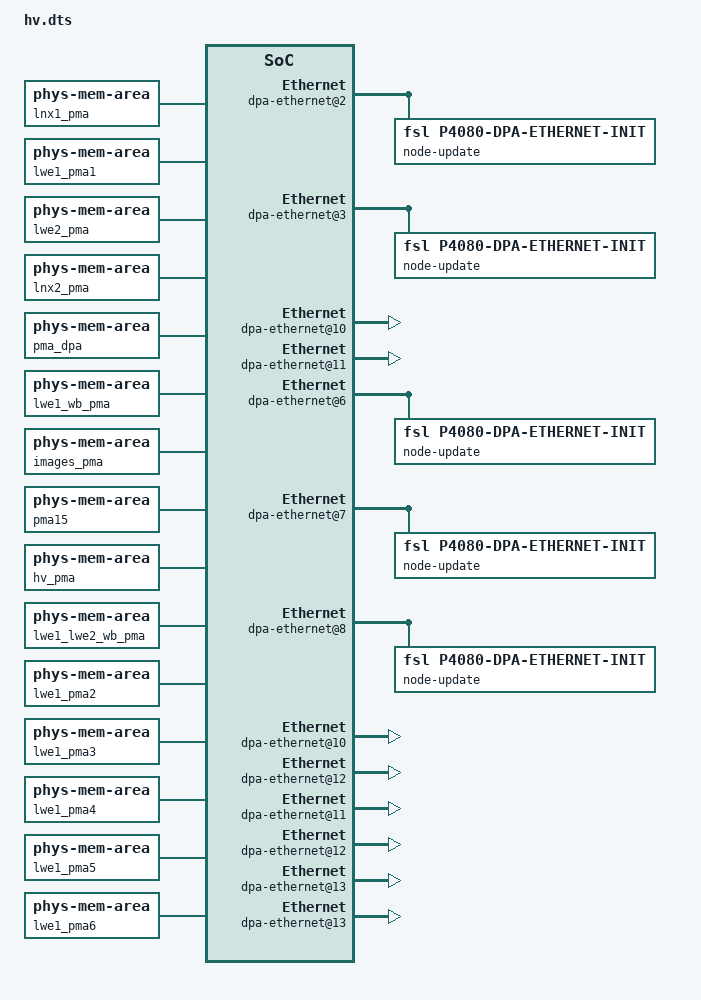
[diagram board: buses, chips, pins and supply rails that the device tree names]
/* Hypervisor Configuration tree containing all hypervisor configuration
 * parameters and partition definition information.
 * (Note -- Please refer to Hypervisor SW Reference Manual
 * (Chapter 5 Configuration) for further details)
 *
 * Copyright (c) 2009-2011 Freescale Semiconductor, Inc.
 */

/dts-v1/;

/ {	// root node

        // The root node of the configuration device tree must contain a
        // compatible property that identifies the device tree as a hypervisor

	compatible = "fsl,hv-config";

	// =====================================================
	// Physical Memory Areas
	// =====================================================
	lnx1_pma: lnx1_pma {
		compatible = "phys-mem-area";
		addr = <0x0 0x00000000>;	// Linux
		size = <0x0 0x20000000>;	// 512MB
	};
	lwe1_pma1: lwe1_pma1 {
		compatible = "phys-mem-area";
		addr = <0x0 0x20000000>;	// LWE1
		size = <0x0 0x20000000>;	// 512MB
	};
	lwe2_pma: lwe2_pma {
		compatible = "phys-mem-area";
		addr = <0x0 0x40000000>;	// LWE2
		size = <0x0 0x20000000>;	// 512MB
	};
	lnx2_pma: lnx2_pma {
		compatible = "phys-mem-area";
		addr = <0x0 0x60000000>;	// Linux
		size = <0x0 0x10000000>;	// 256MB
	};
	pma_dpa: pma_dpa {
		compatible = "phys-mem-area";
		addr = <0x0 0x70000000>;	// For DPA Ethernet frames
		size = <0x0 0x04000000>;	// 64MB
	};
	lwe1_wb_pma: lwe1_wb_pma {
		compatible = "phys-mem-area";
		addr = <0x0 0x74000000>;	// LWE1 Shared whiteboard
		size = <0x0 0x04000000>;	// 64MB
	};
	images_pma: images_pma {
		compatible = "phys-mem-area";
		addr = <0x0 0x78000000>;	// Used for boot-from-RAM
		size = <0x0 0x04000000>;	// 64MB
	};
	pma15: pma15 {
		compatible = "phys-mem-area";
		addr = <0x0 0x7c000000>;	// For MAC-less Ethernet Linux1 and Linux2
		size = <0x0 0x01000000>;	// 16MB
	};
	hv_pma: hv_pma {
		compatible = "phys-mem-area";
		addr = <0x0 0x7f000000>;	// Hypervisor
		size = <0x0 0x01000000>;	// 16MB
	};
	lwe1_lwe2_wb_pma: lwe1_lwe2_wb_pma {
		compatible = "phys-mem-area";
		addr = <0x0 0x80000000>;	// LWE1-LWE2 Shared whiteboard
		size = <0x0 0x04000000>;	// 64MB
	};
	lwe1_pma2: lwe1_pma2 {
		compatible = "phys-mem-area";
		addr = <0x0 0x84000000>;	// LWE1
		size = <0x0 0x04000000>;	// 64MB
	};
	lwe1_pma3: lwe1_pma3 {
		compatible = "phys-mem-area";
		addr = <0x0 0x88000000>;	// LWE1
		size = <0x0 0x08000000>;	// 128MB
	};
	lwe1_pma4: lwe1_pma4 {
		compatible = "phys-mem-area";
		addr = <0x0 0x90000000>;	// LWE1
		size = <0x0 0x10000000>;	// 256MB
	};
	lwe1_pma5: lwe1_pma5 {
		compatible = "phys-mem-area";
		addr = <0x0 0xa0000000>;	// LWE1
		size = <0x0 0x20000000>;	// 512MB
	};
	lwe1_pma6: lwe1_pma6 {
		compatible = "phys-mem-area";
		addr = <0x0 0xc0000000>;	// LWE1
		size = <0x0 0x40000000>;	// 1GB
	};

        // =====================================================
        // DMA Windows
        // =====================================================
	dma-windows {
		dw_linux1: dw_linux1 {
		// DMA window for part1_linux
			compatible = "dma-window";
			guest-addr = <0 0>;
			size = <0x1 0x00000000>; //4GB
			subwindow-count = <8>;
			sub-window@0 {
				compatible = "dma-subwindow";
				guest-addr = <0 0>;
				size = <0 0x20000000>; // 512MB
			};
			sub-window@1 {		// MSI sub-window
				compatible = "dma-subwindow";
				guest-addr = <0 0x20000000>;
				size = <0 0x20000000>; // 512MB
				pcie-msi-subwindow;
			};
			sub-window@2 {
				compatible = "dma-subwindow";
				guest-addr = <0 0x40000000>;
				size = <0 0x1000000>; // 16MB
			};
			sub-window@3 {
				compatible = "dma-subwindow";
				guest-addr = <0x0 0xc0000000>;
				size = <0x0 0x04000000>;
			};
		};
		dw_linux2: dw_linux2 {
		// DMA window for part2_linux
			compatible = "dma-window";
			guest-addr = <0 0>;
			size = <0x1 0x00000000>;
			subwindow-count = <4>;
			sub-window@0 {
				compatible = "dma-subwindow";
				guest-addr = <0 0>;
				size = <0 0x10000000>;
			};
			sub-window@1 {
				compatible = "dma-subwindow";
				guest-addr = <0 0x40000000>;
				size = <0 0x1000000>;
			};
			sub-window@2 {
				compatible = "dma-subwindow";
				guest-addr = <0x0 0xc0000000>;
				size = <0x0 0x04000000>;
			};
		};

		// DMA window for LWE partition has sub-windows
                // This allows the definition of noncontiguous regions
                // of guest physical address space that are the valid
                // targets of DMA operations.
		dw_lwe1: dw_lwe1 {
		// For first LWE partition
			compatible = "dma-window";
			guest-addr = <0 0>;
			size = <0x1 0x00000000>;
			// Vaid values for subwindow-count are 2,4,8,16
                        // 10 sub-windows are defined for LWE
			subwindow-count = <16>;

			sub-window-main@0 {
				compatible = "dma-subwindow";
				guest-addr = <0 0>;
				size = <0x0 0x10000000>; //256MB
			};
			sub-window-main@1 {
				compatible = "dma-subwindow";
				guest-addr = <0 0x10000000>;
				size = <0x0 0x10000000>;
			};
			sub-window-main@2 {
				compatible = "dma-subwindow";
				guest-addr = <0 0x20000000>;
				size = <0x0 0x10000000>;
			};
			sub-window-main@3 {
				compatible = "dma-subwindow";
				guest-addr = <0 0x30000000>;
				size = <0x0 0x10000000>;
			};
			sub-window-main@4 {
				compatible = "dma-subwindow";
				guest-addr = <0 0x40000000>;
				size = <0x0 0x10000000>;
			};
			sub-window-main@5 {
				compatible = "dma-subwindow";
				guest-addr = <0 0x50000000>;
				size = <0x0 0x10000000>;
			};
			sub-window-main@6 {
				compatible = "dma-subwindow";
				guest-addr = <0 0x60000000>;
				size = <0x0 0x10000000>;
			};
			sub-window-main@7 {
				compatible = "dma-subwindow";
				guest-addr = <0 0x70000000>;
				size = <0x0 0x10000000>;
			};
			sub-window-main@8 {
				compatible = "dma-subwindow";
				guest-addr = <0 0x80000000>;
				size = <0x0 0x10000000>;
			};
			sub-window-main@9 {
				compatible = "dma-subwindow";
				guest-addr = <0 0x90000000>;
				size = <0x0 0x08000000>;
			};
			sub-window-main@10 {
				compatible = "dma-subwindow";
				guest-addr = <0 0xa0000000>;
				size = <0x0 0x04000000>;
			};
			sub-window-dpa {
				compatible = "dma-subwindow";
				guest-addr = <0x0 0xc0000000>;
				size = <0x0 0x04000000>;
			};
			sub-window-wb {
				compatible = "dma-subwindow";
				guest-addr = <0x0 0xd0000000>;
				size = <0x0 0x04000000>;
			};
			sub-window-wb2 {
				compatible = "dma-subwindow";
				guest-addr = <0x0 0xe0000000>;
				size = <0x0 0x4000000>;
			};
		};
		dw_lwe2: dw_lwe2 {
		// For second LWE partition
			compatible = "dma-window";
			guest-addr = <0 0>;
			size = <0x1 0x00000000>;
			subwindow-count = <16>;

			sub-window-main@0 {
				compatible = "dma-subwindow";
				guest-addr = <0 0>;
				size = <0x0 0x10000000>;
			};
			sub-window-main@1 {
				compatible = "dma-subwindow";
				guest-addr = <0 0x10000000>;
				size = <0x0 0x10000000>;
			};
			sub-window-dpa {
				compatible = "dma-subwindow";
				guest-addr = <0x0 0xc0000000>;
				size = <0x0 0x04000000>;
			};
			sub-window-wb {
				compatible = "dma-subwindow";
				guest-addr = <0x0 0xd0000000>;
				size = <0x0 0x4000000>;
			};
			sub-window-wb2 {
				compatible = "dma-subwindow";
				guest-addr = <0x0 0xe0000000>;
				size = <0x0 0x4000000>;
			};
		};
		dw_dqrr_qportal0: window3 {
		// DMA window for stash_dqrr for qman-portal0
			compatible = "dma-window";
			guest-addr = <0xf 0xf4200000>;
			size = <0 0x4000>;
		};
		dw_dqrr_qportal1: window4 {
		// DMA window for stash_dqrr for qman-portal1
			compatible = "dma-window";
			guest-addr = <0xf 0xf4204000>;
			size = <0 0x4000>;
		};
		dw_dqrr_qportal2: window5 {
		// DMA window for stash_dqrr for qman-portal2
			compatible = "dma-window";
			guest-addr = <0xf 0xf4208000>;
			size = <0 0x4000>;
		};
		dw_dqrr_qportal3: window6 {
		// DMA window for stash_dqrr for qman-portal3
			compatible = "dma-window";
			guest-addr = <0xf 0xf420c000>;
			size = <0 0x4000>;
		};
		dw_dqrr_qportal4: window7 {
		// DMA window for stash_dqrr for qman-portal4
			compatible = "dma-window";
			guest-addr = <0xf 0xf4210000>;
			size = <0 0x4000>;
		};
		dw_dqrr_qportal5: window8 {
		// DMA window for stash_dqrr for qman-portal5
			compatible = "dma-window";
			guest-addr = <0xf 0xf4214000>;
			size = <0 0x4000>;
		};
		dw_dqrr_qportal6: window9 {
		// DMA window for stash_dqrr for qman-portal6
			compatible = "dma-window";
			guest-addr = <0xf 0xf4218000>;
			size = <0 0x4000>;
		};
		dw_dqrr_qportal7: window10 {
		// DMA window for stash_dqrr for qman-portal7
			compatible = "dma-window";
			guest-addr = <0xf 0xf421c000>;
			size = <0 0x4000>;
		};
	};

	// =====================================================
	// Hypervisor Config
	// Hypervisor is also configured via the Hypervisor
        // configuration tree. A special node and subtree defines
        // set of global configuration parameters and a number of
        // device nodes assigning I/O devices to the hypervisor
	// =====================================================
	hv: hypervisor-config {
		compatible = "hv-config";
		// phandle to byte-channel used for hypervisor's console
		stdout = <&hvbc>;

		hv-memory {
			compatible = "hv-memory";
			phys-mem = <&hv_pma>;
		};

		// Device nodes given below are the physical I/O
                // devices assigned to hypervisor

		guts {
			device = "/soc/global-utilities@e0000";
		};

		iommu {
			device = "/soc/iommu";
		};

		serial0: serial0 {
			device = "serial0";
		};
		serial1: serial1 {
			device = "serial1";
		};
		serial2: serial2 {
			device = "serial2";
		};
		serial3: serial3 {
			device = "serial3";
		};

		mpic {
			device = "/soc/pic@40000";
		};

		cpc {
			device = "/soc/l3-cache-controller";
		};

		corenet-law {
			device = "/soc/corenet-law";
		};

		corenet-cf {
			device = "/soc/corenet-cf";
		};

		rcpm {
			device = "/soc/global-utilities@e2000";
		};

		hvbc: byte-channel {
			compatible = "byte-channel";
			endpoint = <&uartmux>;
			mux-channel = <0>;
		};
	};

        // =====================================================
        // UART mux
        // This node is referenced by byte-channels that use mux
        // as an endpoint
        // =====================================================
	uartmux: uartmux {
		compatible = "byte-channel-mux";
		endpoint = <&serial0>;
	};

        // =====================================================
        // To keep the scenarios hv-1/2/4p as diff-able as possible
        // we always use labels part1 and part2 for linux partitions and
        // part3 and part4 for LWE partitions.
        // In hv-4p scenario, there are 4 partitions - 2 Linux and 2 LWE
        // Partition1 --- part1 --- Linux partition
        // Partition2 --- part2 --- Linux partition
        // Partition3 --- part3 --- LWE partition
        // Partition4 --- part4 --- LWE partition
        // =====================================================


	// =====================================================
	// Partition 1
	// =====================================================
	part1 {
		// Indicates that it is a partition node
		compatible = "partition";
		label = "p1-linux";
		// CPU #0 and #1 is assigned to this partition
		cpus = <0 2>;
		guest-image = <0xf 0xe8020000 0 0 0 0x700000>;
		linux-rootfs = <0xf 0xe9300000 0 0x01300000 0 0x02800000>;
		dtb-window = <0 0x1000000 0 0x12000>;

		// Temporary until Linux uses enable LIODN hcall
		no-dma-disable;

		gpma0 {
			compatible = "guest-phys-mem-area";
			phys-mem = <&lnx1_pma>;
			guest-addr = <0 0>;
		};

		gpma1 {
			compatible = "guest-phys-mem-area";
			phys-mem = <&pma_dpa>;	// DPA Ethernet frames
			guest-addr = <0 0xc0000000>;
		};

		gpma2 {
			compatible = "guest-phys-mem-area";
			phys-mem = <&lwe1_wb_pma>;
			guest-addr = <0 0xd0000000>;
		};

		gpma3 {
			compatible = "guest-phys-mem-area";
			phys-mem = <&pma15>;	// Interpartition between Linux1 - Linux2
			guest-addr = <0 0x40000000>;
		};

		flash {
			device = "/localbus";
		};

		aliases {
			stdout = <&part1_bc0>;
		};

		part1_bc0: byte-channel@1 {
			compatible = "byte-channel";
			endpoint = <&uartmux>;
			mux-channel = <1>;
		};

		// partition node managed by this partition - part3
		partition@3 {
			compatible = "managed-partition";
			partition = <&part3>;
		};

		// partition node managed by this partition - part4
		partition@4 {
			compatible = "managed-partition";
			partition = <&part4>;
		};

		// Devices assigned to the partition - device nodes
		// device node is child of partition node and is used to
		// assign physical I/O devices to partition


		 // FMAN0 eth0 -- ethernet 0 assigned to this partition
		dpa-ethernet@0 {
			device = "/fsl,dpaa/ethernet@0";
		};

		 // FMAN0 eth1 -- ethernet 1 assigned to this partition
		dpa-ethernet@1 {
			device = "/fsl,dpaa/ethernet@1";

			// Replaces the phandle property specified in hardware device tree in the
                        // property fsl,qman-channel with phandle of qportal0 when providing the
                        // node to partition's guest device tree
			node-update-phandle {
				fsl,qman-channel = <&part1_qpool1>;
			};
		};

		// FMAN0 eth2 - 1G port
                // Initialization ownership of this ethernet port is with linux.
                // Used by LWE partition 
		dpa-ethernet@2 {
			device = "/fsl,dpaa/ethernet@2";

			node-update {
				// Update the compatibility property to give initialization ownership to this partition
				compatible = "fsl,p4080-dpa-ethernet-init", "fsl,dpa-ethernet-init";
				// Delete prop fsl,qman-channel from the node
				delete-prop = "fsl,qman-channel";
				// Add property  fsl,qman-frame-queues-rx, fsl,qman-frame-queues-tx to node
				fsl,qman-frame-queues-rx = <0x10 1 0x11 1>;
				fsl,qman-frame-queues-tx = <0x12 1 0x13 1>;
			};

			// Update the phandle in the fsl,bman-buffer-pools property of the node.
			node-update-phandle {
				fsl,bman-buffer-pools = <&part1_bp7 &part1_bp8 &part1_bp9>;
			};
		};

		 // FMAN0 eth3 - 1G port
                // Initialization ownership of this ethernet port is with linux.
                // Used by LWE partition
		dpa-ethernet@3 {
			device = "/fsl,dpaa/ethernet@3";

			node-update {
				compatible = "fsl,p4080-dpa-ethernet-init", "fsl,dpa-ethernet-init";
				delete-prop = "fsl,qman-channel";
				fsl,qman-frame-queues-rx = <0x20 1 0x21 1>;
				fsl,qman-frame-queues-tx = <0x22 1 0x23 1>;
			};
			node-update-phandle {
				fsl,bman-buffer-pools = <&part1_bp7 &part1_bp8 &part1_bp9>;
			};
		};

		bman-portal@0 {
			device = "/bman-portals/bman-portal@0";
			vcpu = <0>;
		};

		bman-portal@4000 {
			device = "/bman-portals/bman-portal@4000";
			vcpu = <1>;
		};

		buffer-pool@0 {
			device = "/bman-portals/buffer-pool@0";
		};

		node-update {
                        // Add buffer pools 1 to 9 to the root node of guest device tree(GDT)
                        // The nodes would be added as specified below to the GDT
			buffer-pool@1 {
				compatible = "fsl,p4080-bpool", "fsl,bpool";
				fsl,bpid = <1>;
			};
			buffer-pool@2 {
				compatible = "fsl,p4080-bpool", "fsl,bpool";
				fsl,bpid = <2>;
			};
			buffer-pool@3 {
				compatible = "fsl,p4080-bpool", "fsl,bpool";
				fsl,bpid = <3>;
			};
			buffer-pool@4 {
				compatible = "fsl,p4080-bpool", "fsl,bpool";
				fsl,bpid = <4>;
			};
			buffer-pool@5 {
				compatible = "fsl,p4080-bpool", "fsl,bpool";
				fsl,bpid = <5>;
			};
			buffer-pool@6 {
				compatible = "fsl,p4080-bpool", "fsl,bpool";
				fsl,bpid = <6>;
			};
			part1_bp7: buffer-pool@7 {
				compatible = "fsl,p4080-bpool", "fsl,bpool";
				fsl,bpid = <7>;
				fsl,bpool-cfg = <0 0x14000 0 192 0 0xC0000000>;
			};
			part1_bp8: buffer-pool@8 {
				compatible = "fsl,p4080-bpool", "fsl,bpool";
				fsl,bpid = <8>;
				fsl,bpool-cfg = <0 0x2000 0 576 0 0xC1E00000>;
			};
			part1_bp9: buffer-pool@9 {
				compatible = "fsl,p4080-bpool", "fsl,bpool";
				fsl,bpid = <9>;
				fsl,bpool-cfg = <0 0x2000 0 1600 0 0xC2700000>;
			};
			part1_bp10: buffer-pool@10 {
				compatible = "fsl,p4080-bpool", "fsl,bpool";
				fsl,bpid = <10>;
				fsl,bpool-cfg = <0 0x80 0 192 0 0x40000000>;
			};
			part1_bp11: buffer-pool@11 {
				compatible = "fsl,p4080-bpool", "fsl,bpool";
				fsl,bpid = <11>;
				fsl,bpool-cfg = <0 0x80 0 576 0 0x40006000>;
			};
			part1_bp12: buffer-pool@12 {
				compatible = "fsl,p4080-bpool", "fsl,bpool";
				fsl,bpid = <12>;
				fsl,bpool-cfg = <0 0x80 0 1600 0 0x40018000>;
			};
			part1_bp13: buffer-pool@13 {
				compatible = "fsl,p4080-bpool", "fsl,bpool";
				fsl,bpid = <13>;
			};
			part1_bp14: buffer-pool@14 {
				compatible = "fsl,p4080-bpool", "fsl,bpool";
				fsl,bpid = <14>;
			};
			part1_bp15: buffer-pool@15 {
				compatible = "fsl,p4080-bpool", "fsl,bpool";
				fsl,bpid = <15>;
			};

			// Add a subnode dpa-ethernet@10 and 11 in fsl,dpaa node in GDT
			fsl,dpaa {
				dpa-ethernet@10 {	// Link with Linux2
					compatible = "fsl,p4080-dpa-ethernet", "fsl,dpa-ethernet";
					fsl,qman-frame-queues-rx = <0x4000 8>;
					fsl,qman-frame-queues-tx = <0x4008 8>;
					local-mac-address = [02 00 c0 a8 6f fe];
				};
				dpa-ethernet@11 {	// Link with LWE
					compatible = "fsl,p4080-dpa-ethernet", "fsl,dpa-ethernet";
					fsl,qman-frame-queues-rx = <0x4010 8>;
					fsl,qman-frame-queues-tx = <0x4018 8>;
					local-mac-address = [02 00 c0 a8 83 fe];
				};
			};
		};

		// Add properties with phandle values to the node dpa-ethernet@10 and 11
		node-update-phandle {
			fsl,dpaa {
				dpa-ethernet@10 {
					fsl,qman-channel = <&part1_qpool2>;
					fsl,bman-buffer-pools = <&part1_bp10 &part1_bp11 &part1_bp12>;
				};
				dpa-ethernet@11 {
					fsl,qman-channel = <&part1_qpool2>;
					fsl,bman-buffer-pools = <&part1_bp7 &part1_bp8 &part1_bp9>;
				};
			};
		};

		portal-devices {
			fman0 {
				device = "fman0";
				dma-window = <&dw_linux1>;
			};
			fman1 {
				device = "fman1";
				dma-window = <&dw_linux1>;
			};
			caam {
				device = "crypto";
				dma-window = <&dw_linux1>;
			};
			pme {
				device = "pme";
				dma-window = <&dw_linux1>;
			};
		};

		qman-portal@0 {
			device = "/qman-portals/qman-portal@0";
			vcpu = <0>;

			stash-mem {
				liodn-index = <1>;
				dma-window = <&dw_linux1>;
				operation-mapping = <0>;	// OMI_QMAN
				stash-dest = <1>;
			};

			stash-dqrr {
				liodn-index = <0>;
				dma-window = <&dw_dqrr_qportal0>;
				operation-mapping = <0>;	// OMI_QMAN
				stash-dest = <1>;
				snoop-cpu-only;
			};

			node-update-phandle {
				fsl,qman-pool-channels = <&part1_qpool1 &part1_qpool2
							  &part1_qpool3 &part1_qpool4>;
			};
		};

		qman-portal@4000 {
			device = "/qman-portals/qman-portal@4000";
			vcpu = <1>;

			stash-mem {
				liodn-index = <1>;
				dma-window = <&dw_linux1>;
				operation-mapping = <0>;	// OMI_QMAN
				stash-dest = <1>;
			};

			stash-dqrr {
				liodn-index = <0>;
				dma-window = <&dw_dqrr_qportal1>;
				operation-mapping = <0>;	// OMI_QMAN
				stash-dest = <1>;
				snoop-cpu-only;
			};

			node-update-phandle {
				fsl,qman-pool-channels = <&part1_qpool1 &part1_qpool2
							  &part1_qpool3 &part1_qpool4>;
			};
		};

		part1_qpool1: qman-pool@1 {
			device = "/qman-portals/qman-pool@1";
		};
		part1_qpool2: qman-pool@2 {
			device = "/qman-portals/qman-pool@2";
		};
		part1_qpool3: qman-pool@3 {
			device = "/qman-portals/qman-pool@3";
		};
		part1_qpool4: qman-pool@4 {
			device = "/qman-portals/qman-pool@4";
		};

		memory-controller@8000 {
			device = "/soc/memory-controller@8000";
		};
		memory-controller@9000 {
			device = "/soc/memory-controller@9000";
		};

		dma0 {
			device = "dma0";
			dma-window = <&dw_linux1>;
		};

		i2c@118000 {
			device = "/soc/i2c@118000";
		};
		i2c@118100 {
			device = "/soc/i2c@118100";
		};

		usb0 {
			device = "usb0";
			dma-window = <&dw_linux1>;
		};

		sdhc {
			device = "sdhc";
			dma-window = <&dw_linux1>;
		};

		crypto {
			device = "crypto";
			dma-window = <&dw_linux1>;
		};

		snvs {
			device = "snvs";
		};

		pme {
			device = "pme";
			dma-window = <&dw_linux1>;
		};

		qman {
			device = "qman";
			dma-window = <&dw_linux1>;
			operation-mapping = <2>;  // OMI_QMAN_PRIV
			stash-dest = <3>;   // L3/CPC
		};

		bman {
			device = "bman";
			dma-window = <&dw_linux1>;
		};

		gpio {
			device = "/soc/gpio";
		};
		 // This partition has 2  FMAN0 port assigned to it.
                // Hence delete the liodn property from the other ports.
		fman0 {
			device = "fman0";
			dma-window = <&dw_linux1>;

			node-update {
				port@8a000 {
					delete-prop = "fsl,liodn";
				};
				port@8b000 {
					delete-prop = "fsl,liodn";
				};
				port@90000 {
					delete-prop = "fsl,liodn";
				};
			};
		};

		msi0 {
			device = "msi0";
		};
		pci0 {
			device = "pci0";
			map-ranges;
			dma-window = <&dw_linux1>;
		};
		pci1 {
			device = "pci1";
			map-ranges;
			dma-window = <&dw_linux1>;
		};
		pci2 {
			device = "pci2";
			map-ranges;
			dma-window = <&dw_linux1>;
		};
	};

	// =====================================================
	// Partition 2
	// =====================================================
	part2 {
		compatible = "partition";
		label = "p2-linux";
		cpus = <2 1>;
		guest-image = <0xf 0xe8020000 0 0 0 0x700000>;
		linux-rootfs = <0xf 0xe9300000 0 0x01300000 0 0x02800000>;
		dtb-window = <0 0x1000000 0 0x12000>;

		// Temporary until Linux uses enable LIODN hcall
		no-dma-disable;

		gpma0 {
			compatible = "guest-phys-mem-area";
			phys-mem = <&lnx2_pma>;
			guest-addr = <0 0>;
		};

		gpma1 {
			compatible = "guest-phys-mem-area";
			phys-mem = <&pma_dpa>;	// For DPA Ethernet frames
			guest-addr = <0 0xC0000000>;
		};

		flash {
			device = "/localbus";
		};

		gpma3 {
			compatible = "guest-phys-mem-area";
			phys-mem = <&pma15>;	// Interpartition between Linux1 - Linux2
			guest-addr = <0 0x40000000>;
		};

		aliases {
			stdout = <&part2_bc0>;
		};

		part2_bc0: byte-channel@2 {
			compatible = "byte-channel";
			endpoint = <&uartmux>;
			mux-channel = <2>;
		};

		 // FMAN1 eth0 -- ethernet 0 assigned to this partition
		dpa-ethernet@5 {
			device = "/fsl,dpaa/ethernet@5";

			node-update-phandle {
				fsl,bman-buffer-pools = <&part2_bp1>;
				fsl,qman-channel = <&part2_qpool5>;
			};
		};

		 // FMAN1 eth2 - 1G port
                // Initialization ownership of this ethernet port is with linux.
                // Used by LWE partition
		dpa-ethernet@6 {
			device = "/fsl,dpaa/ethernet@6";

			node-update {
				compatible = "fsl,p4080-dpa-ethernet-init", "fsl,dpa-ethernet-init";
				delete-prop = "fsl,qman-channel";
				fsl,qman-frame-queues-rx = <0x70 1 0x71 1>;
				fsl,qman-frame-queues-tx = <0x72 1 0x73 1>;
			};
			node-update-phandle {
				fsl,bman-buffer-pools = <&part2_bp13 &part2_bp14 &part2_bp15>;
			};
		};

		 // FMAN1 eth3 - 1G port
                // Initialization ownership of this ethernet port is with linux.
                // Used by LWE partition
		dpa-ethernet@7 {
			device = "/fsl,dpaa/ethernet@7";

			node-update {
				compatible = "fsl,p4080-dpa-ethernet-init", "fsl,dpa-ethernet-init";
				delete-prop = "fsl,qman-channel";
				fsl,qman-frame-queues-rx = <0x30 1 0x31 1>;
				fsl,qman-frame-queues-tx = <0x32 1 0x33 1>;
			};
			node-update-phandle {
				fsl,bman-buffer-pools = <&part2_bp13 &part2_bp14 &part2_bp15>;
			};
		};
		 // FMAN1 eth3 - 1G port
                // Initialization ownership of this ethernet port is with linux.
                // Used by LWE partition
		dpa-ethernet@8 {
			device = "/fsl,dpaa/ethernet@8";

			node-update {
				compatible = "fsl,p4080-dpa-ethernet-init", "fsl,dpa-ethernet-init";
				delete-prop = "fsl,qman-channel";
				fsl,qman-frame-queues-rx = <0x40 1 0x41 1>;
				fsl,qman-frame-queues-tx = <0x42 1 0x43 1>;
			};
			node-update-phandle {
				fsl,bman-buffer-pools = <&part2_bp13 &part2_bp14 &part2_bp15>;
			};
		};

		bman-portal@8000 {
			device = "/bman-portals/bman-portal@8000";

			vcpu = <0>;
		};

		node-update {
			part2_bp1: buffer-pool@1 {
				compatible = "fsl,p4080-bpool", "fsl,bpool";
				fsl,bpid = <1>;
			};
			part2_bp2: buffer-pool@2 {
				compatible = "fsl,p4080-bpool", "fsl,bpool";
				fsl,bpid = <2>;
			};
			part2_bp3: buffer-pool@3 {
				compatible = "fsl,p4080-bpool", "fsl,bpool";
				fsl,bpid = <3>;
			};
			part2_bp4: buffer-pool@4 {
				compatible = "fsl,p4080-bpool", "fsl,bpool";
				fsl,bpid = <4>;
			};
			part2_bp5: buffer-pool@5 {
				compatible = "fsl,p4080-bpool", "fsl,bpool";
				fsl,bpid = <5>;
			};
			part2_bp6: buffer-pool@6 {
				compatible = "fsl,p4080-bpool", "fsl,bpool";
				fsl,bpid = <6>;
			};
			part2_bp7: buffer-pool@7 {
				compatible = "fsl,p4080-bpool", "fsl,bpool";
				fsl,bpid = <7>;
			};
			part2_bp8: buffer-pool@8 {
				compatible = "fsl,p4080-bpool", "fsl,bpool";
				fsl,bpid = <8>;
			};
			part2_bp9: buffer-pool@9 {
				compatible = "fsl,p4080-bpool", "fsl,bpool";
				fsl,bpid = <9>;
			};
			part2_bp10: buffer-pool@10 {
				compatible = "fsl,p4080-bpool", "fsl,bpool";
				fsl,bpid = <10>;
				fsl,bpool-cfg = <0 0x80 0 192 0 0x40000000>;
			};
			part2_bp11: buffer-pool@11 {
				compatible = "fsl,p4080-bpool", "fsl,bpool";
				fsl,bpid = <11>;
				fsl,bpool-cfg = <0 0x80 0 576 0 0x40006000>;
			};
			part2_bp12: buffer-pool@12 {
				compatible = "fsl,p4080-bpool", "fsl,bpool";
				fsl,bpid = <12>;
				fsl,bpool-cfg = <0 0x80 0 1600 0 0x40018000>;
			};
			part2_bp13: buffer-pool@13 {
				compatible = "fsl,p4080-bpool", "fsl,bpool";
				fsl,bpid = <13>;
				fsl,bpool-cfg = <0 0x14000 0 192 0 0xC0F00000>;
			};
			part2_bp14: buffer-pool@14 {
				compatible = "fsl,p4080-bpool", "fsl,bpool";
				fsl,bpid = <14>;
				fsl,bpool-cfg = <0 0x2000 0 576 0 0xC2280000>;
			};
			part2_bp15: buffer-pool@15 {
				compatible = "fsl,p4080-bpool", "fsl,bpool";
				fsl,bpid = <15>;
				fsl,bpool-cfg = <0 0x2000 0 1600 0 0xC3380000>;
			};

			fsl,dpaa {
				dpa-ethernet@10 {	// Link with Linux1
					compatible = "fsl,p4080-dpa-ethernet", "fsl,dpa-ethernet";
					fsl,qman-frame-queues-rx = <0x4008 8>;
					fsl,qman-frame-queues-tx = <0x4000 8>;
					local-mac-address = [02 00 c0 a8 79 fe];
				};
				dpa-ethernet@12 {	// Link with LWE
					compatible = "fsl,p4080-dpa-ethernet", "fsl,dpa-ethernet";
					fsl,qman-frame-queues-rx = <0x4020 8>;
					fsl,qman-frame-queues-tx = <0x4028 8>;
					local-mac-address = [02 00 c0 a8 8d fe];
				};

			};
		};

		node-update-phandle {
			fsl,dpaa {
				dpa-ethernet@10 {
					fsl,qman-channel = <&part2_qpool6>;
					fsl,bman-buffer-pools = <&part2_bp10 &part2_bp11 &part2_bp12>;
				};
				dpa-ethernet@12 {
					fsl,qman-channel = <&part2_qpool6>;
					fsl,bman-buffer-pools = <&part2_bp13 &part2_bp14 &part2_bp15>;
				};
			};
		};

		portal-devices {
			fman0 {
				device = "fman0";
				dma-window = <&dw_linux2>;
			};
			fman1 {
				device = "fman1";
				dma-window = <&dw_linux2>;
			};
			caam {
				device = "crypto";
				dma-window = <&dw_linux2>;
			};
			pme {
				device = "pme";
				dma-window = <&dw_linux2>;
			};
		};

		qman-portal@8000 {
			device = "/qman-portals/qman-portal@8000";
			vcpu = <0>;

			stash-mem {
				liodn-index = <1>;
				dma-window = <&dw_linux2>;
				operation-mapping = <0>;	// OMI_QMAN
				stash-dest = <1>;
			};

			stash-dqrr {
				liodn-index = <0>;
				dma-window = <&dw_dqrr_qportal2>;
				operation-mapping = <0>;	// OMI_QMAN
				stash-dest = <1>;
				snoop-cpu-only;
			};

			node-update-phandle {
				fsl,qman-pool-channels = <&part2_qpool5 &part2_qpool6
							  &part2_qpool6 &part2_qpool8>;
			};
		};

		part2_qpool5: qman-pool@5 {
			device = "/qman-portals/qman-pool@5";
		};
		part2_qpool6: qman-pool@6 {
			device = "/qman-portals/qman-pool@6";
		};
		part2_qpool7: qman-pool@7 {
			device = "/qman-portals/qman-pool@7";
		};
		part2_qpool8: qman-pool@8 {
			device = "/qman-portals/qman-pool@8";
		};

		dma1 {
			device = "dma1";
			dma-window = <&dw_linux2>;
		};

		i2c@119000 {
			device = "/soc/i2c@119000";
		};
		i2c@119100 {
			device = "/soc/i2c@119100";
		};

		usb1 {
			device = "usb1";
			dma-window = <&dw_linux2>;
		};

		fman1_ethernet@e0000 {
			device = "ethernet5";
			node-update {
				delete-prop = "phy-handle";
				fixed-link = <5 1 1000 0 0>;
			};
		};
		fman1_ethernet@e2000 {
			device = "ethernet6";
			node-update {
				delete-prop = "phy-handle";
				fixed-link = <6 1 1000 0 0>;
			};
		};
		fman1_ethernet@e4000 {
			device = "ethernet7";
			node-update {
				delete-prop = "phy-handle";
				fixed-link = <7 1 1000 0 0>;
			};
		};
		fman1_ethernet@e6000 {
			device = "ethernet8";
			node-update {
				delete-prop = "phy-handle";
				fixed-link = <8 1 1000 0 0>;
			};
		};

		fman1 {
			device = "fman1";
			dma-window = <&dw_linux2>;

			node-update {
				port@89000 {
					delete-prop = "fsl,liodn";
				};
				port@8a000 {
					delete-prop = "fsl,liodn";
				};
				port@8b000 {
					delete-prop = "fsl,liodn";
				};
				port@90000 {
					delete-prop = "fsl,liodn";
				};
			};
		};

	};

	// =====================================================
	// Partition 3
	// =====================================================
	part3: part3 {
		compatible = "partition";
		label = "p3-lwe";

		 // CPU #3,4,5,6 are assigned to this partition
		cpus = <3 4>;

		// -1 specified in the dest address so that while loading LWE image,
                // hypervisor picks up the load address from the ELF image itself.
		guest-image = <0xf 0xe8a00000 0xffffffff 0xffffffff 0 0x300000>;
		dtb-window = <0 0x40000 0 0x40000>;
		no-auto-start;
		watchdog-timeout = "manager-notify";

		// Temporary until LWE uses enable LIODN hcall
		no-dma-disable;

		gpma0 {
			compatible = "guest-phys-mem-area";
			phys-mem = <&lwe1_pma1>;
			guest-addr = <0 0>;
		};
		gpma1 {
			compatible = "guest-phys-mem-area";
			phys-mem = <&lwe1_pma5>;
			guest-addr = <0 0x20000000>;
		};
		gpma2 {
			compatible = "guest-phys-mem-area";
			phys-mem = <&lwe1_pma6>;
			guest-addr = <0 0x40000000>;
		};
		gpma3 {
			compatible = "guest-phys-mem-area";
			phys-mem = <&lwe1_pma4>;
			guest-addr = <0 0x80000000>;
		};
		gpma4 {
			compatible = "guest-phys-mem-area";
			phys-mem = <&lwe1_pma3>;
			guest-addr = <0 0x90000000>;
		};

		/* The gpma5 is discontigous in guest Physical */
		gpma5 {
			compatible = "guest-phys-mem-area";
			phys-mem = <&lwe1_pma2>;
			guest-addr = <0 0xa0000000>;
		};
		gpma6 {
			compatible = "guest-phys-mem-area";
			phys-mem = <&pma_dpa>;	// DPA Ethernet frames
			guest-addr = <0 0xc0000000>;
		};
		gpma7 {
			compatible = "guest-phys-mem-area";
			phys-mem = <&lwe1_wb_pma>;
			guest-addr = <0 0xd0000000>;
		};
		gpma8 {
			compatible = "guest-phys-mem-area";
			phys-mem = <&lwe1_lwe2_wb_pma>;	// Interpartition between LWE1 - LWE2
			guest-addr = <0 0xe0000000>;
			node-update {
				prepend-stringlist = "compatible", "fsl,lwe1-lwe2-pma";
			};
		};

		aliases {
			stdout_vcpu0 = <&part3_bc0>;
			stdout_vcpu1 = <&part3_bc1>;
			stdout_vcpu2 = <&part3_bc2>;
			stdout_vcpu3 = <&part3_bc3>;
		};

		part3_bc0: byte-channel@3{
			compatible = "byte-channel";
			endpoint = <&uartmux>;
			mux-channel = <3>;
			node-update {
				prepend-stringlist = "compatible", "fsl,lwe-stdout";
				vcpu = <0>;
			};
		};

		part3_bc1: byte-channel@4{
			compatible = "byte-channel";
			endpoint = <&uartmux>;
			mux-channel = <4>;
			node-update {
				prepend-stringlist = "compatible", "fsl,lwe-stdout";
				vcpu = <1>;
			};
		};

		part3_bc2: byte-channel@5{
			compatible = "byte-channel";
			endpoint = <&uartmux>;
			mux-channel = <5>;
			node-update {
				prepend-stringlist = "compatible", "fsl,lwe-stdout";
				vcpu = <2>;
			};
		};

		part3_bc3: byte-channel@6{
			compatible = "byte-channel";
			endpoint = <&uartmux>;
			mux-channel = <6>;
			node-update {
				prepend-stringlist = "compatible", "fsl,lwe-stdout";
				vcpu = <3>;
			};
		};


		gdb-stub@0 {
			compatible = "gdb-stub", "debug-stub";
			endpoint = <&uartmux>;	// byte-channel endpoint
			mux-channel = <15>;
			debug-cpus = <0 1>; //virtual cpu 0
		};

		gdb-stub@1 {
			compatible = "gdb-stub", "debug-stub";
			endpoint = <&uartmux>;	// byte-channel endpoint
			mux-channel = <16>;
			debug-cpus = <1 1>; //virtual cpu 1
		};

		gdb-stub@2 {
			compatible = "gdb-stub", "debug-stub";
			endpoint = <&uartmux>;	// byte-channel endpoint
			mux-channel = <17>;
			debug-cpus = <2 1>; //virtual cpu 2
		};

		gdb-stub@3 {
			compatible = "gdb-stub", "debug-stub";
			endpoint = <&uartmux>;	// byte-channel endpoint
			mux-channel = <18>;
			debug-cpus = <3 1>; //virtual cpu 3
		};

		bman-portal@c000 {
			device = "/bman-portals/bman-portal@c000";

			vcpu = <0>;
		};
		bman-portal@10000 {
			device = "/bman-portals/bman-portal@10000";

			vcpu = <1>;
		};
		bman-portal@14000 {
			device = "/bman-portals/bman-portal@14000";

			vcpu = <2>;
		};
		bman-portal@18000 {
			device = "/bman-portals/bman-portal@18000";

			vcpu = <3>;
		};

		node-update {
			part3_bp7: buffer-pool@7 {
				compatible = "fsl,p4080-bpool", "fsl,bpool";
				fsl,bpid = <7>;
				fsl,bpool-cfg = <0 0x14000 0 192 0 0xC0000000>;
			};
			part3_bp8: buffer-pool@8 {
				compatible = "fsl,p4080-bpool", "fsl,bpool";
				fsl,bpid = <8>;
				fsl,bpool-cfg = <0 0x2000 0 576 0 0xC1E00000>;
			};
			part3_bp9: buffer-pool@9 {
				compatible = "fsl,p4080-bpool", "fsl,bpool";
				fsl,bpid = <9>;
				fsl,bpool-cfg = <0 0x2000 0 1600 0 0xC2700000>;
			};
			part3_bp13: buffer-pool@13 {
				compatible = "fsl,p4080-bpool", "fsl,bpool";
				fsl,bpid = <13>;
				fsl,bpool-cfg = <0 0x14000 0 192 0 0xC0F00000>;
			};
			part3_bp14: buffer-pool@14 {
				compatible = "fsl,p4080-bpool", "fsl,bpool";
				fsl,bpid = <14>;
				fsl,bpool-cfg = <0 0x2000 0 576 0 0xC2280000>;
			};
			part3_bp15: buffer-pool@15 {
				compatible = "fsl,p4080-bpool", "fsl,bpool";
				fsl,bpid = <15>;
				fsl,bpool-cfg = <0 0x2000 0 1600 0 0xC3380000>;
			};

			fsl,dpaa {
				dpa-ethernet@11 {	// Link with Linux1
					compatible = "fsl,p4080-dpa-ethernet", "fsl,dpa-ethernet";
					fsl,qman-frame-queues-rx = <0x4018 8>;
					fsl,qman-frame-queues-tx = <0x4010 8>;
					local-mac-address = [02 00 c0 a8 97 fe];
				};
				dpa-ethernet@12 {	// Link with Linux2
					compatible = "fsl,p4080-dpa-ethernet", "fsl,dpa-ethernet";
					fsl,qman-frame-queues-rx = <0x4028 8>;
					fsl,qman-frame-queues-tx = <0x4020 8>;
					local-mac-address = [02 00 c0 a8 a1 fe];
				};
				dpa-ethernet@13 {	// Link with LWE2
					compatible = "fsl,p4080-dpa-ethernet", "fsl,dpa-ethernet", "fsl,lwe1-lwe2-bridge";
					fsl,qman-frame-queues-rx = <0x4036 8>;
					fsl,qman-frame-queues-tx = <0x4044 8>;
					local-mac-address = [02 00 c0 a8 a2 fe];
				};
			};

		};

		node-update-phandle {
			fsl,dpaa {
				dpa-ethernet@11 {
					fsl,qman-channel = <&part3_qpool9>;
					fsl,bman-buffer-pools = <&part3_bp7 &part3_bp8 &part3_bp9>;
				};
				dpa-ethernet@12 {
					fsl,qman-channel = <&part3_qpool9>;
					fsl,bman-buffer-pools = <&part3_bp7 &part3_bp8 &part3_bp9>;
				};
				dpa-ethernet@13 {
					fsl,qman-channel = <&part3_qpool9>;
					fsl,bman-buffer-pools = <&part3_bp7 &part3_bp8 &part3_bp9>;
				};
			};
		};

		portal-devices {
			fman0 {
				device = "fman0";
				dma-window = <&dw_lwe1>;
			};
			fman1 {
				device = "fman1";
				dma-window = <&dw_lwe1>;
			};
			caam {
				device = "crypto";
				dma-window = <&dw_lwe1>;
			};
			pme {
				device = "pme";
				dma-window = <&dw_lwe1>;
			};
		};

		qman-portal@c000 {
			device = "/qman-portals/qman-portal@c000";
			vcpu = <0>;

			stash-mem {
				liodn-index = <1>;
				dma-window = <&dw_lwe1>;
				operation-mapping = <0>;	// OMI_QMAN
				stash-dest = <1>;
			};

			stash-dqrr {
				liodn-index = <0>;
				dma-window = <&dw_dqrr_qportal3>;
				operation-mapping = <0>;	// OMI_QMAN
				stash-dest = <1>;
				snoop-cpu-only;
			};

			node-update-phandle {
				fsl,qman-pool-channels = <&part3_qpool9	 &part3_qpool10
							  &part3_qpool11 &part3_qpool12>;
			};
		};

		qman-portal@10000 {
			device = "/qman-portals/qman-portal@10000";
			vcpu = <1>;

			stash-mem {
				liodn-index = <1>;
				dma-window = <&dw_lwe1>;
				operation-mapping = <0>;	// OMI_QMAN
				stash-dest = <1>;
			};

			stash-dqrr {
				liodn-index = <0>;
				dma-window = <&dw_dqrr_qportal4>;
				operation-mapping = <0>;	// OMI_QMAN
				stash-dest = <1>;
				snoop-cpu-only;
			};

			node-update-phandle {
				fsl,qman-pool-channels = <&part3_qpool9	 &part3_qpool10
							  &part3_qpool11 &part3_qpool12>;
			};
		};

		qman-portal@14000 {
			device = "/qman-portals/qman-portal@14000";
			vcpu = <2>;

			stash-mem {
				liodn-index = <1>;
				dma-window = <&dw_lwe1>;
				operation-mapping = <0>;	// OMI_QMAN
				stash-dest = <1>;
			};

			stash-dqrr {
				liodn-index = <0>;
				dma-window = <&dw_dqrr_qportal5>;
				operation-mapping = <0>;	// OMI_QMAN
				stash-dest = <1>;
				snoop-cpu-only;
			};

			node-update-phandle {
				fsl,qman-pool-channels = <&part3_qpool9	 &part3_qpool10
							  &part3_qpool11 &part3_qpool12>;
			};
		};

		qman-portal@18000 {
			device = "/qman-portals/qman-portal@18000";
			vcpu = <3>;

			stash-mem {
				liodn-index = <1>;
				dma-window = <&dw_lwe1>;
				operation-mapping = <0>;	// OMI_QMAN
				stash-dest = <1>;
			};

			stash-dqrr {
				liodn-index = <0>;
				dma-window = <&dw_dqrr_qportal6>;
				operation-mapping = <0>;	// OMI_QMAN
				stash-dest = <1>;
				snoop-cpu-only;
			};

			node-update-phandle {
				fsl,qman-pool-channels = <&part3_qpool9	 &part3_qpool10
							  &part3_qpool11 &part3_qpool12>;
			};
		};

		part3_qpool9: qman-pool@9 {
			device = "/qman-portals/qman-pool@9";
		};
		part3_qpool10: qman-pool@10 {
			device = "/qman-portals/qman-pool@10";
		};
		part3_qpool11: qman-pool@11 {
			device = "/qman-portals/qman-pool@11";
		};
		part3_qpool12: qman-pool@12 {
			device = "/qman-portals/qman-pool@12";
		};

		fman0_port@8a000 {
			device = "fman0_rx2";
			dma-window = <&dw_lwe1>;
		};
		fman0_port@8b000 {
			device = "fman0_rx3";
			dma-window = <&dw_lwe1>;
		};

		fman0_port@aa000 {
			device = "/soc/fman@400000/port@aa000";
		};
		fman0_port@ab000 {
			device = "/soc/fman@400000/port@ab000";
		};

		fman1_port@8a000 {
			device = "fman1_rx2";
			dma-window = <&dw_lwe1>;
		};
		fman1_port@8b000 {
			device = "fman1_rx3";
			dma-window = <&dw_lwe1>;
		};

		fman1_port@aa000 {
			device = "/soc/fman@500000/port@aa000";
		};
		fman1_port@ab000 {
			device = "/soc/fman@500000/port@ab000";
		};

		fman0_ethernet@e4000 {
			device = "ethernet2";
			node-update {
				delete-prop = "phy-handle";
				fixed-link = <2 1 1000 0 0>;
			};
		};
		fman0_ethernet@e6000 {
			device = "ethernet3";
			node-update {
				delete-prop = "phy-handle";
				fixed-link = <3 1 1000 0 0>;
			};
		};

		fman1_ethernet@e4000 {
			device = "ethernet7";
			node-update {
				delete-prop = "phy-handle";
				fixed-link = <7 1 1000 0 0>;
			};
		};
		fman1_ethernet@e6000 {
			device = "ethernet8";
			node-update {
				delete-prop = "phy-handle";
				fixed-link = <8 1 1000 0 0>;
			};
		};

		// FMAN0 - eth2 
		dpa-ethernet@2 {
			device = "/fsl,dpaa/ethernet@2";

			node-update {
				fsl,qman-frame-queues-rx = <0x10 1 0x11 1 0x800 32>;
				fsl,qman-frame-queues-tx = <0x12 1 0x13 1 0x18 8>;
			};
			node-update-phandle {
				fsl,qman-channel = <&part3_qpool9>;
				fsl,bman-buffer-pools = <&part3_bp7 &part3_bp8 &part3_bp9>;
			};
		};

		// FMAN0 - eth3 
		dpa-ethernet@3 {
			device = "/fsl,dpaa/ethernet@3";

			node-update {
				fsl,qman-frame-queues-rx = <0x20 1 0x21 1 0xc00 32>;
				fsl,qman-frame-queues-tx = <0x22 1 0x23 1 0x28 8>;
			};
			node-update-phandle {
				fsl,qman-channel = <&part3_qpool9>;
				fsl,bman-buffer-pools = <&part3_bp7 &part3_bp8 &part3_bp9>;
			};
		};

		// FMAN1 - eth2 
		dpa-ethernet@7 {
			device = "/fsl,dpaa/ethernet@7";

			node-update {
				fsl,qman-frame-queues-rx = <0x30 1 0x31 1 0x1800 32>;
				fsl,qman-frame-queues-tx = <0x32 1 0x33 1 0x38 8>;
			};
			node-update-phandle {
				fsl,qman-channel = <&part3_qpool9>;
				fsl,bman-buffer-pools = <&part3_bp7 &part3_bp8 &part3_bp9>;
			};
		};
		// FMAN1 - eth3 
		dpa-ethernet@8 {
			device = "/fsl,dpaa/ethernet@8";

			node-update {
				fsl,qman-frame-queues-rx = <0x40 1 0x41 1 0x1c00 32>;
				fsl,qman-frame-queues-tx = <0x42 1 0x43 1 0x48 8>;
			};
			node-update-phandle {
				fsl,qman-channel = <&part3_qpool9>;
				fsl,bman-buffer-pools = <&part3_bp7 &part3_bp8 &part3_bp9>;
			};
		};

	};

	// =====================================================
	// Partition 4
	// =====================================================
	part4: part4 {
		compatible = "partition";
		label = "p4-lwe";
		cpus = <7 1>;
		guest-image = <0xf 0xe8d00000 0xffffffff 0xffffffff 0 0x300000>;
		dtb-window = <0 0x40000 0 0x40000>;
		no-auto-start;
		watchdog-timeout = "manager-notify";

		// Temporary until LWE uses enable LIODN hcall
		no-dma-disable;

		gpma0 {
			compatible = "guest-phys-mem-area";
			phys-mem = <&lwe2_pma>;
			guest-addr = <0 0>;
		};
		gpma1 {
			compatible = "guest-phys-mem-area";
			phys-mem = <&pma_dpa>;	// DPA Ethernet frames
			guest-addr = <0 0xC0000000>;
		};

		gpma2 {
			compatible = "guest-phys-mem-area";
			phys-mem = <&lwe1_wb_pma>;
			guest-addr = <0 0xD0000000>;
		};

		gpma3 {
			compatible = "guest-phys-mem-area";
			phys-mem = <&lwe1_lwe2_wb_pma>;	// Interpartition between LWE1 - LWE2
			guest-addr = <0 0xE0000000>;
			node-update {
				prepend-stringlist = "compatible", "fsl,lwe1-lwe2-pma";
			};
		};

		aliases {
			stdout_vcpu0 = <&part4_bc0>;
		};

		part4_bc0: byte-channel@7 {
			compatible = "byte-channel";
			endpoint = <&uartmux>;
			mux-channel = <7>;
			node-update {
				prepend-stringlist = "compatible", "fsl,lwe-stdout";
				vcpu = <0>;
			};
		};

		bman-portal@1c000 {
			device = "/bman-portals/bman-portal@1c000";

			vcpu = <0>;
		};

		node-update {
			part4_bp7: buffer-pool@7 {
				compatible = "fsl,p4080-bpool", "fsl,bpool";
				fsl,bpid = <7>;
				fsl,bpool-cfg = <0 0x14000 0 192 0 0xC0000000>;
			};
			part4_bp8: buffer-pool@8 {
				compatible = "fsl,p4080-bpool", "fsl,bpool";
				fsl,bpid = <8>;
				fsl,bpool-cfg = <0 0x2000 0 576 0 0xC1E00000>;
			};
			part4_bp9: buffer-pool@9 {
				compatible = "fsl,p4080-bpool", "fsl,bpool";
				fsl,bpid = <9>;
				fsl,bpool-cfg = <0 0x2000 0 1600 0 0xC2700000>;
			};
			part4_bp13: buffer-pool@13 {
				compatible = "fsl,p4080-bpool", "fsl,bpool";
				fsl,bpid = <13>;
				fsl,bpool-cfg = <0 0x14000 0 192 0 0xC0F00000>;
			};
			part4_bp14: buffer-pool@14 {
				compatible = "fsl,p4080-bpool", "fsl,bpool";
				fsl,bpid = <14>;
				fsl,bpool-cfg = <0 0x2000 0 576 0 0xC2280000>;
			};
			part4_bp15: buffer-pool@15 {
				compatible = "fsl,p4080-bpool", "fsl,bpool";
				fsl,bpid = <15>;
				fsl,bpool-cfg = <0 0x2000 0 1600 0 0xC3380000>;
			};
			fsl,dpaa {
				dpa-ethernet@13 {	// Link with LWE1
					compatible = "fsl,p4080-dpa-ethernet", "fsl,dpa-ethernet", "fsl,lwe1-lwe2-bridge";
					fsl,qman-frame-queues-rx = <0x4044 8>;
					fsl,qman-frame-queues-tx = <0x4036 8>;
					local-mac-address = [02 00 c0 a8 a4 fe];
				};
			};
		};

		node-update-phandle {
			fsl,dpaa {
				dpa-ethernet@13 {
					fsl,qman-channel = <&part4_qpool13>;
					fsl,bman-buffer-pools = <&part4_bp7 &part4_bp8 &part4_bp9>;
				};
			};
		};

		portal-devices {
			fman0 {
				device = "fman0";
				dma-window = <&dw_lwe2>;
			};
			fman1 {
				device = "fman1";
				dma-window = <&dw_lwe2>;
			};
			caam {
				device = "crypto";
				dma-window = <&dw_lwe2>;
			};
			pme {
				device = "pme";
				dma-window = <&dw_lwe2>;
			};
		};

		qman-portal@1c000 {
			device = "/qman-portals/qman-portal@1c000";
			vcpu = <0>;

			stash-mem {
				liodn-index = <1>;
				dma-window = <&dw_lwe2>;
				operation-mapping = <0>;	// OMI_QMAN
				stash-dest = <1>;
			};

			stash-dqrr {
				liodn-index = <0>;
				dma-window = <&dw_dqrr_qportal7>;
				operation-mapping = <0>;	// OMI_QMAN
				stash-dest = <1>;
				snoop-cpu-only;
			};

			node-update-phandle {
				fsl,qman-pool-channels = <&part4_qpool13 &part4_qpool14
							  &part4_qpool15>;
			};
		};

		part4_qpool13: qman-pool@13 {
			device = "/qman-portals/qman-pool@13";
		};
		part4_qpool14: qman-pool@14 {
			device = "/qman-portals/qman-pool@14";
		};
		part4_qpool15: qman-pool@15 {
			device = "/qman-portals/qman-pool@15";
		};

		fman1_port@89000 {
			device = "fman1_rx1";
			dma-window = <&dw_lwe2>;
		};

		fman1_port@a9000 {
			device = "/soc/fman@500000/port@a9000";
		};

		fman1_ethernet@e2000 {
			device = "ethernet6";
			node-update {
				delete-prop = "phy-handle";
				fixed-link = <6 1 1000 0 0>;
			};
		};

		// FMAN1 eth1
		dpa-ethernet@6 {
			device = "/fsl,dpaa/ethernet@6";

			node-update {
				fsl,qman-frame-queues-rx = <0x70 1 0x71 1 0x1400 32>;
				fsl,qman-frame-queues-tx = <0x72 1 0x73 1 0x78 8>;
			};
			node-update-phandle {
				fsl,qman-channel = <&part4_qpool13>;
				fsl,bman-buffer-pools = <&part4_bp7 &part4_bp8 &part4_bp9>;
			};
		};
	};
};
